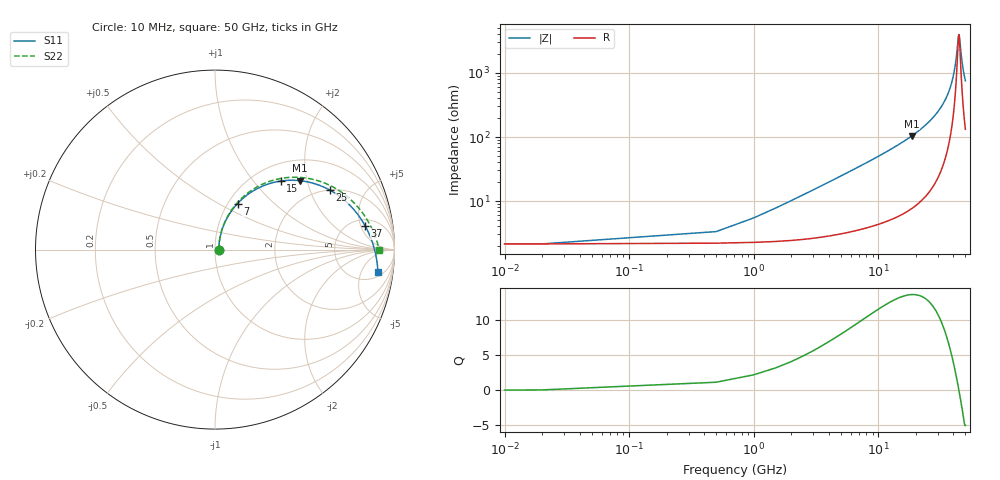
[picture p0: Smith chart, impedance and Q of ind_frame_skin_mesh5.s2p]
! Created with skrf 2.1.0 (http://scikit-rf.org).
# GHz S DB R 50.0
! Port[1] = P1
! Port[2] = P2
!freq dBS11 angS11 dBS21 angS21 dBS12 angS12 dBS22 angS22
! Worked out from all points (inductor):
!   102 points, 10 MHz to 50 GHz, reference 50 ohm
!   read as 1/Y11, port 2 shorted: L = 782 pH near 1.5 GHz
!   highest Q = 13.6 at 18.5 GHz (marker M1), where L = 888 pH
!   self-resonance near 44 GHz
!   S11 on the Smith chart (normalised r, x): 10 MHz: 1.04, +0.00; 7 GHz: 1.11, +0.62; 15 GHz: 1.32, +1.40; 25 GHz: 2.02, +2.78; 37 GHz: 6.37, +5.98; 50 GHz: 7, -10
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0.01  -33.59 1.2  -0.18 -0.0  -0.18 -0.0  -33.59 1.2
0.5  -30.28 44.2  -0.19 -1.6  -0.19 -1.6  -30.28 44.3
1  -26.27 60.5  -0.21 -3.1  -0.21 -3.1  -26.26 60.6
1.5  -23.26 66.8  -0.23 -4.6  -0.23 -4.6  -23.27 67.0
2  -20.98 69.4  -0.25 -6.0  -0.25 -6.0  -20.99 69.6
2.5  -19.17 70.4  -0.28 -7.5  -0.28 -7.5  -19.17 70.7
3.5  -16.42 70.3  -0.35 -10.4  -0.35 -10.4  -16.43 70.7
4.5  -14.38 68.9  -0.43 -13.1  -0.43 -13.1  -14.39 69.5
5.5  -12.78 67.1  -0.52 -15.9  -0.52 -15.9  -12.78 67.8
7  -10.89 63.9  -0.68 -19.9  -0.68 -19.9  -10.90 64.8
8.5  -9.42 60.6  -0.86 -23.8  -0.86 -23.8  -9.43 61.6
11.5  -7.26 53.8  -1.28 -31.1  -1.28 -31.1  -7.27 55.3
15  -5.53 46.2  -1.86 -39.0  -1.86 -39.0  -5.54 48.1
17  -4.78 42.1  -2.21 -43.2  -2.21 -43.2  -4.79 44.3
18.5  -4.31 39.1  -2.49 -46.3  -2.49 -46.3  -4.32 41.5
25  -2.83 27.3  -3.78 -58.1  -3.78 -58.1  -2.85 30.6
25.5  -2.75 26.4  -3.88 -58.9  -3.88 -58.9  -2.76 29.8
29.5  -2.17 20.0  -4.71 -65.3  -4.71 -65.3  -2.19 24.0
33.5  -1.74 14.0  -5.56 -71.1  -5.56 -71.1  -1.75 18.6
37  -1.44 9.0  -6.32 -75.8  -6.32 -75.8  -1.46 14.2
42  -1.12 2.3  -7.43 -82.2  -7.43 -82.2  -1.13 8.4
50  -0.76 -7.7  -9.31 -91.6  -9.31 -91.6  -0.77 -0.2
